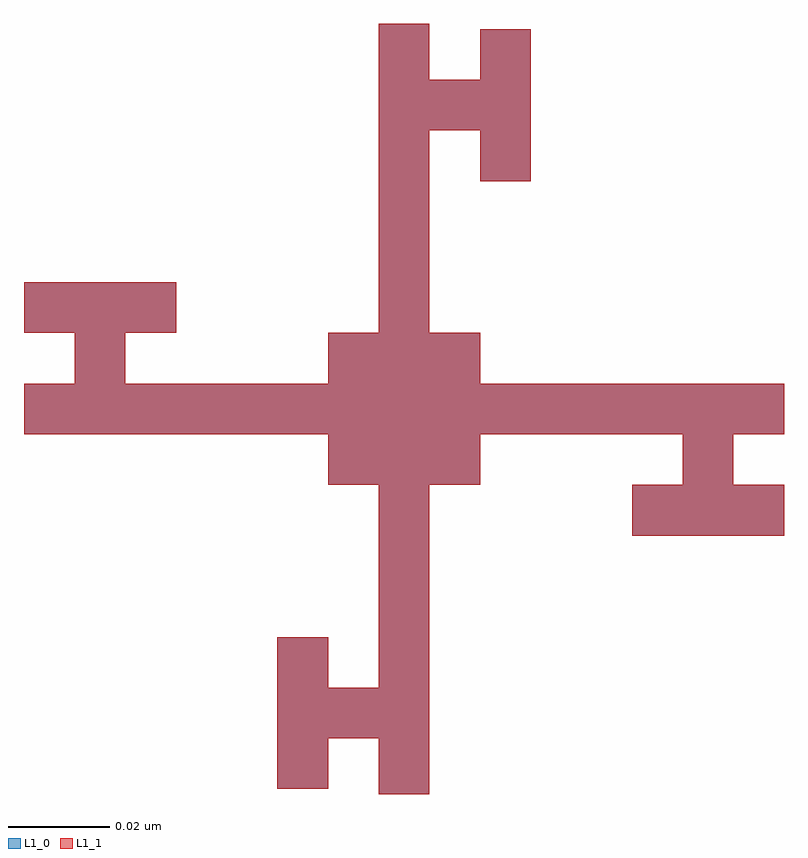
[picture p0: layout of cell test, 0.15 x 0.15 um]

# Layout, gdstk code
import gdstk
lib = gdstk.Library(unit=1e-6, precision=1e-09)
def P(c, l, *ps):  # polygons
    for p in ps: c.add(gdstk.Polygon(p, *l))
L1_0 = (1, 0)
L1_1 = (1, 1)

test = lib.new_cell('test')
P(test, L1_0, [(-0.06,0.01),(-0.06,0.02),(-0.05,0.02),(-0.05,0.03),(-0.06,0.03),(-0.06,0.04),(-0.03,0.04),(-0.03,0.03),(-0.04,0.03),(-0.04,0.02),(0,0.02),(0,0.03),(0.01,0.03),(0.01,0.091),(0.02,0.091),(0.02,0.08),(0.03,0.08),(0.03,0.09),(0.04,0.09),(0.04,0.06),(0.03,0.06),(0.03,0.07),(0.02,0.07),(0.02,0.03),(0.03,0.03),(0.03,0.02),(0.09,0.02),(0.09,0.01),(0.08,0.01),(0.08,0),(0.09,0),(0.09,-0.01),(0.06,-0.01),(0.06,0),(0.07,0),(0.07,0.01),(0.03,0.01),(0.03,0),(0.02,0),(0.02,-0.061),(0.01,-0.061),(0.01,-0.061),(0.01,-0.05),(0,-0.05),(0,-0.06),(-0.01,-0.06),(-0.01,-0.03),(0,-0.03),(0,-0.04),(0.01,-0.04),(0.01,0),(0,0),(0,0.01),(-0.06,0.01)])
P(test, L1_1, [(-0.06,0.03),(-0.06,0.04),(-0.05,0.04),(-0.05,0.03),(-0.06,0.03),(-0.06,0.03)],
  [(-0.06,0.01),(-0.06,0.02),(-0.05,0.02),(-0.05,0.01),(-0.06,0.01),(-0.06,0.01)],
  [(0.01,0.04),(0.01,0.091),(0.02,0.091),(0.02,0.04),(0.01,0.04),(0.01,0.04)],
  [(0.01,0.03),(0.01,0.04),(0.02,0.04),(0.02,0.03),(0.01,0.03),(0.01,0.03)],
  [(0.03,0.06),(0.03,0.09),(0.04,0.09),(0.04,0.06),(0.03,0.06),(0.03,0.06)],
  [(0.02,0.07),(0.02,0.08),(0.03,0.08),(0.03,0.07),(0.02,0.07),(0.02,0.07)],
  [(-0.05,0.01),(-0.05,0.04),(-0.04,0.04),(-0.04,0.01),(-0.05,0.01),(-0.05,0.01)],
  [(-0.04,0.03),(-0.04,0.04),(-0.03,0.04),(-0.03,0.03),(-0.04,0.03),(-0.04,0.03)],
  [(-0.04,0.01),(-0.04,0.02),(0,0.02),(0,0.01),(-0.04,0.01),(-0.04,0.01)],
  [(-0.01,-0.06),(-0.01,-0.03),(0,-0.03),(0,-0.06),(-0.01,-0.06),(-0.01,-0.06)],
  [(0.02,0),(0.02,0.03),(0.03,0.03),(0.03,0),(0.02,0),(0.02,0)],
  [(0.08,-0.01),(0.08,0),(0.09,0),(0.09,-0.01),(0.08,-0.01),(0.08,-0.01)],
  [(0.01,-0.061),(0.01,-0.03),(0.02,-0.03),(0.02,-0.061),(0.01,-0.061),(0.01,-0.061)],
  [(0,-0.05),(0,-0.04),(0.01,-0.04),(0.01,-0.05),(0,-0.05),(0,-0.05)],
  [(0,0),(0,0.03),(0.01,0.03),(0.01,0),(0,0),(0,0)],
  [(0.01,-0.03),(0.01,0.03),(0.02,0.03),(0.02,-0.03),(0.01,-0.03),(0.01,-0.03)],
  [(0.08,0.01),(0.08,0.02),(0.09,0.02),(0.09,0.01),(0.08,0.01),(0.08,0.01)],
  [(0.03,0.01),(0.03,0.02),(0.07,0.02),(0.07,0.01),(0.03,0.01),(0.03,0.01)],
  [(0.07,-0.01),(0.07,0.02),(0.08,0.02),(0.08,-0.01),(0.07,-0.01),(0.07,-0.01)],
  [(0.06,-0.01),(0.06,0),(0.07,0),(0.07,-0.01),(0.06,-0.01),(0.06,-0.01)])

lib.write_gds('test.gds')
